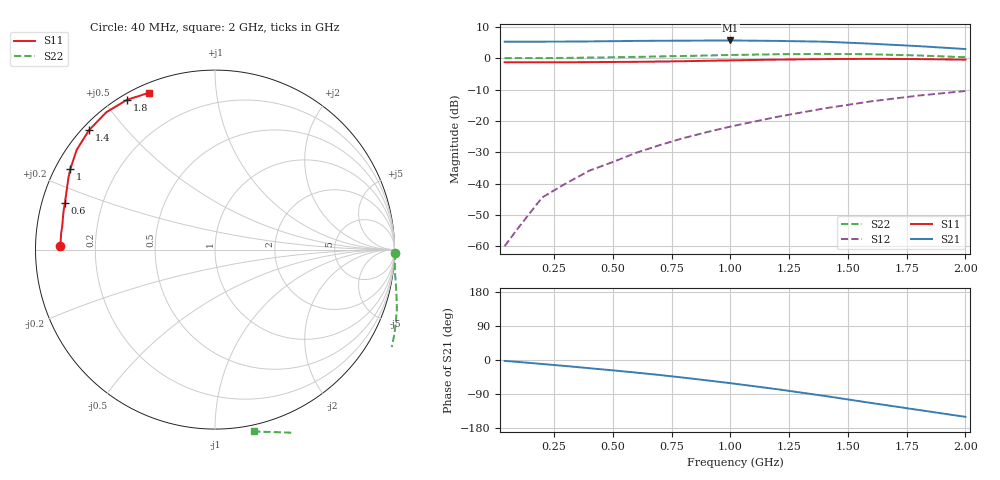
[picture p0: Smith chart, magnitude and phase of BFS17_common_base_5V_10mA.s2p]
! Filename:  BFS17CBC.S2P  Version:  2.0
! Philips part #: BFS17  Date: Jul 1990
! Bias condition: Vce=5V, Ic=10mA
! COMMON BASE
#  MHz  S  MA  R  50
! Freq  S11  S21  S12  S22
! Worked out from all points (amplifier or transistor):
!   16 points, 40 MHz to 2 GHz, reference 50 ohm
!   highest |S21| = 5.7 dB at 1 GHz (marker M1)
!   |S21| within 3 dB of that: start of sweep to end of sweep
!   unconditionally stable (mu >= 1): nowhere
!   at 200 MHz: K = -0.44, MSG = 24.9 dB, |S12| = -44.4 dB
!   at 800 MHz: K = -0.80, MSG = 15.6 dB, |S12| = -25.5 dB
!   at 2 GHz: K = -0.02, MSG = 6.7 dB, |S12| = -10.5 dB
!   S11 on the Smith chart (normalised r, x): 40 MHz: 0.07, +0.01; 600 MHz: 0.07, +0.15; 1 GHz: 0.04, +0.26; 1.4 GHz: 0.02, +0.40; 1.8 GHz: 0.02, +0.57; 2 GHz: 0.04, +0.66
40  0.863 178.6  1.836 -2.4  0.001 74.2  1.001 -1.0
100  0.861 177.0  1.836 -5.2  0.002 96.1  1.005 -2.3
200  0.862 174.1  1.837 -10.5  0.006 112.0  1.005 -4.8
300  0.861 171.2  1.842 -15.9  0.01 122.5  1.011 -7.3
400  0.865 168.5  1.852 -21.6  0.016 128.0  1.022 -9.9
500  0.871 165.6  1.87 -27.3  0.022 131.9  1.034 -12.5
600  0.875 162.8  1.887 -33.3  0.031 134.2  1.049 -15.3
700  0.884 159.9  1.898 -39.6  0.041 135.3  1.067 -18.3
800  0.895 156.9  1.904 -46.5  0.053 136.0  1.084 -21.6
900  0.909 154.0  1.912 -53.7  0.066 135.9  1.104 -25.1
1000  0.923 150.8  1.919 -61.1  0.081 135.0  1.125 -28.9
1200  0.95 144.2  1.887 -77.1  0.116 132.3  1.156 -37.4
1400  0.967 136.6  1.834 -94.7  0.158 127.2  1.171 -46.9
1600  0.976 128.4  1.703 -113.4  0.205 121.7  1.155 -57.0
1800  0.968 120.4  1.558 -131.7  0.253 114.6  1.105 -67.4
2000  0.948 113.0  1.4 -150.0  0.299 107.9  1.036 -77.9
